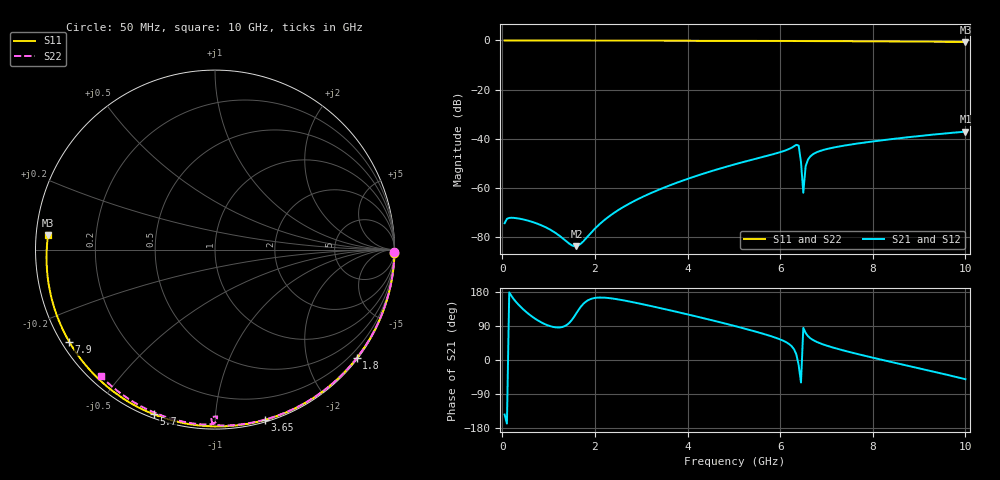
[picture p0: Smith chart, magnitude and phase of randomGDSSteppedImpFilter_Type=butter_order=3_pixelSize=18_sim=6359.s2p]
! freq	dB(S11)	phase(S11)	dB(S12)	phase(S12)
!  dB(S21)	phase(S21)	dB(S22)	phase(S22)
!S-par simulation data
#  GHz  S  DB  R 50
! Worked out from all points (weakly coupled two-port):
!   200 points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, 50 MHz to 10 GHz, reference 50 ohm
!   highest |S21| = -37.15 dB at 10 GHz (marker M1); lowest = -83.8 dB at 1.6 GHz (marker M2)
!   lowest |S11| = -0.6 dB at 10 GHz (marker M3), VSWR 29.19, Z = 1.72 + j2.11 ohm
!   |S11| at or under -10 dB: nowhere
!   |S22| runs from -0.6 to 0.0 dB; largest |S21 - S12| = 0
!   S11 on the Smith chart (normalised r, x): 50 MHz: open; 1.8 GHz: 0.03, -2.94; 3.65 GHz: 0.02, -1.33; 5.7 GHz: 0.02, -0.69; 7.9 GHz: 0.02, -0.29; 10 GHz: 0.03, +0.04
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0.05  -0.00 -1.1  -74.41 -143.8  -74.41 -143.8  -0.00 -0.8
0.15  -0.00 -3.2  -72.27 178.6  -72.27 178.6  -0.00 -2.3
0.4  -0.01 -8.5  -72.66 139.8  -72.66 139.8  -0.00 -6.1
0.85  -0.02 -18.0  -75.31 98.8  -75.31 98.8  -0.01 -12.9
1.25  -0.03 -26.3  -79.74 86.0  -79.74 86.0  -0.02 -18.9
1.6  -0.04 -33.5  -83.76 123.4  -83.76 123.4  -0.03 -24.1
1.75  -0.05 -36.5  -81.77 148.2  -81.77 148.2  -0.03 -26.3
1.8  -0.05 -37.5  -80.74 153.6  -80.74 153.6  -0.03 -27.1
2.5  -0.07 -51.5  -69.13 160.0  -69.13 160.0  -0.05 -37.3
3.4  -0.09 -69.0  -60.62 137.3  -60.62 137.3  -0.07 -50.2
3.65  -0.10 -73.7  -58.76 130.3  -58.76 130.3  -0.07 -53.7
5.05  -0.15 -99.1  -50.28 88.8  -50.28 88.8  -0.11 -72.7
5.7  -0.18 -110.4  -47.06 66.8  -47.06 66.8  -0.13 -81.2
6.4  -0.23 -122.4  -42.81 -13.5  -42.81 -13.5  -0.60 -91.4
6.45  -0.24 -123.3  -49.59 -59.5  -49.59 -59.5  -0.64 -89.3
6.5  -0.24 -124.1  -61.99 84.7  -61.99 84.7  -0.38 -89.4
6.55  -0.24 -124.9  -51.24 71.6  -51.24 71.6  -0.28 -90.3
6.6  -0.24 -125.8  -48.55 63.2  -48.55 63.2  -0.24 -91.2
6.7  -0.25 -127.5  -46.46 53.5  -46.46 53.5  -0.21 -92.8
7.9  -0.35 -147.7  -41.37 9.0  -41.37 9.0  -0.26 -107.8
8.35  -0.39 -155.4  -40.30 -3.8  -40.30 -3.8  -0.29 -113.1
10  -0.60 175.2  -37.15 -50.7  -37.15 -50.7  -0.45 -132.0
